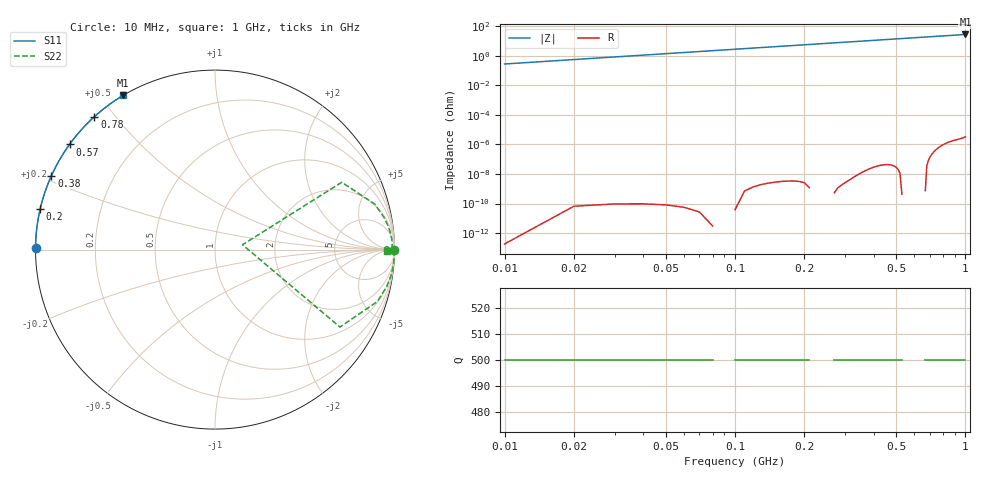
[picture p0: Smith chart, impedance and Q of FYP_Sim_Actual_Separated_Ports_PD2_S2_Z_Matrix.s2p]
! Touchstone file from project FYP_Sim_Actual_Separated_Ports
! Exported from HFSS 13.0.2
# GHZ Z MA R 50.000000
! Terminal data exported
! Port[1] = PD2_Incision_Port_T1
! Port[2] = Radiating_Plate_T1
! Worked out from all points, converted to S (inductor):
!   100 points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, 10 MHz to 1 GHz, reference 50 ohm
!   read as one part to ground: L = 4.51 nH near 10 MHz
!   highest |Z| = 28.4 ohm at 1 GHz (marker M1)
!   S11 on the Smith chart (normalised r, x): 10 MHz: 0.00, +0.01; 200 MHz: 0.00, +0.11; 380 MHz: 0.00, +0.22; 570 MHz: -0.00, +0.32; 780 MHz: 0.00, +0.44; 1 GHz: 0.00, +0.57
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0.01  0.005673 90.0  1.203e-09 68.4  8.75e-10 55.2  791.5 -89.2
0.12  0.06808 90.0  4.799e-08 -179.0  4.364e-08 177.3  55.71 -89.0
0.18  0.1021 90.0  1.269e-07 -90.3  1.212e-07 -90.9  26.39 -88.4
0.2  0.1135 90.0  1.45e-07 -58.8  1.426e-07 -58.9  19.23 -87.7
0.22  0.1248 90.0  1.635e-07 -22.5  1.649e-07 -22.6  12.63 -86.1
0.23  0.1305 90.0  1.752e-07 -2.3  1.781e-07 -2.5  9.453 -84.3
0.24  0.1362 90.0  1.903e-07 19.3  1.941e-07 18.9  6.336 -80.5
0.25  0.1418 90.0  2.106e-07 41.8  2.144e-07 41.2  3.317 -69.1
0.26  0.1475 90.0  2.376e-07 65.0  2.406e-07 64.4  1.362 3.2
0.27  0.1532 90.0  2.729e-07 88.3  2.74e-07 87.9  3.666 64.3
0.28  0.1589 90.0  3.173e-07 111.7  3.161e-07 111.5  6.885 74.1
0.29  0.1645 90.0  3.715e-07 134.7  3.679e-07 134.8  10.32 77.3
0.3  0.1702 90.0  4.361e-07 157.5  4.309e-07 157.8  13.96 78.6
0.31  0.1759 90.0  5.123e-07 180.0  5.068e-07 -179.8  17.85 79.0
0.34  0.1929 90.0  8.47e-07 -114.4  8.502e-07 -115.9  31.76 77.2
0.38  0.2156 90.0  2.032e-06 -34.4  1.997e-06 -40.7  60.66 67.7
0.51  0.2894 90.0  1.358e-05 122.8  9.891e-06 106.3  51.03 -21.0
0.57  0.3234 90.0  1.334e-05 -156.3  1.097e-05 -170.5  34.76 -2.4
0.67  0.3802 90.0  2.232e-05 -21.6  2.227e-05 -20.0  47.55 21.3
0.78  0.4427 90.0  2.477e-05 105.5  2.483e-05 104.2  65.6 5.1
0.84  0.4767 90.0  2.464e-05 134.4  2.473e-05 131.9  60.59 -5.1
1  0.5677 90.0  3.562e-05 -177.8  3.428e-05 -175.0  47.52 -7.3
